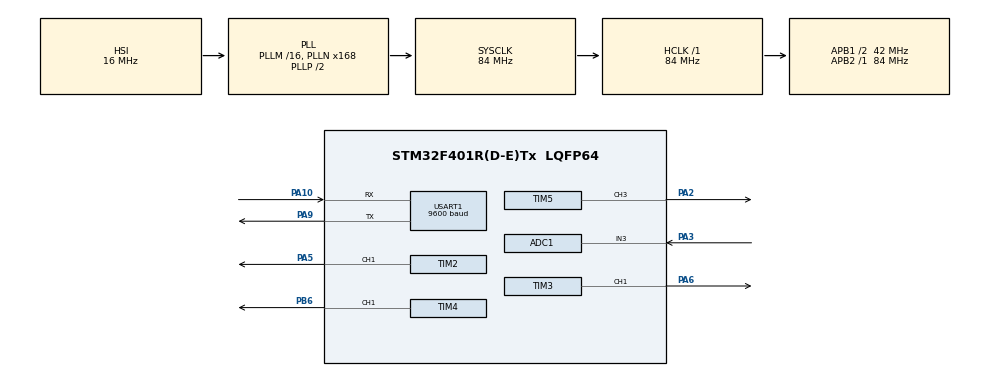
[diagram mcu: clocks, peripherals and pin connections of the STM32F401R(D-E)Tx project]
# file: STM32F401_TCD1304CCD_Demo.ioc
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ADC1.Channel-3\#ChannelRegularConversion=ADC_CHANNEL_3
ADC1.ContinuousConvMode=ENABLE
ADC1.DMAContinuousRequests=ENABLE
ADC1.NbrOfConversionFlag=1
ADC1.Rank-3\#ChannelRegularConversion=1
ADC1.SamplingTime-3\#ChannelRegularConversion=ADC_SAMPLETIME_3CYCLES
ADC1.master=1
Dma.ADC1.0.Direction=DMA_PERIPH_TO_MEMORY
Dma.ADC1.0.FIFOMode=DMA_FIFOMODE_DISABLE
Dma.ADC1.0.Instance=DMA2_Stream0
Dma.ADC1.0.MemDataAlignment=DMA_MDATAALIGN_HALFWORD
Dma.ADC1.0.MemInc=DMA_MINC_ENABLE
Dma.ADC1.0.Mode=DMA_CIRCULAR
Dma.ADC1.0.PeriphDataAlignment=DMA_PDATAALIGN_HALFWORD
Dma.ADC1.0.PeriphInc=DMA_PINC_DISABLE
Dma.ADC1.0.Priority=DMA_PRIORITY_HIGH
Dma.Request0=ADC1
Dma.Request1=USART1_TX
Dma.USART1_TX.1.Direction=DMA_MEMORY_TO_PERIPH
Dma.USART1_TX.1.FIFOMode=DMA_FIFOMODE_DISABLE
Dma.USART1_TX.1.Instance=DMA2_Stream7
Dma.USART1_TX.1.MemDataAlignment=DMA_MDATAALIGN_BYTE
Dma.USART1_TX.1.MemInc=DMA_MINC_ENABLE
Dma.USART1_TX.1.Mode=DMA_NORMAL
Dma.USART1_TX.1.PeriphDataAlignment=DMA_PDATAALIGN_BYTE
Dma.USART1_TX.1.PeriphInc=DMA_PINC_DISABLE
Dma.USART1_TX.1.Priority=DMA_PRIORITY_MEDIUM
Mcu.Family=STM32F4
Mcu.Name=STM32F401R(D-E)Tx
Mcu.Package=LQFP64
NVIC.ADC_IRQn=true\:0\:0\:false\:false\:true\:true\:true\:true
NVIC.DMA2_Stream0_IRQn=true\:0\:0\:false\:false\:true\:false\:true\:true
NVIC.DMA2_Stream7_IRQn=true\:0\:0\:false\:false\:true\:false\:true\:true
NVIC.PriorityGroup=NVIC_PRIORITYGROUP_4
PA10.Mode=Asynchronous
PA10.Signal=USART1_RX
PA13.Mode=Trace_Asynchronous_SW
PA13.Signal=SYS_JTMS-SWDIO
PA14.Mode=Trace_Asynchronous_SW
PA14.Signal=SYS_JTCK-SWCLK
PA2.Signal=S_TIM5_CH3
PA3.Signal=ADCx_IN3
PA5.Signal=S_TIM2_CH1_ETR
PA6.Signal=S_TIM3_CH1
PA9.Mode=Asynchronous
PA9.Signal=USART1_TX
PB3.Mode=Trace_Asynchronous_SW
PB3.Signal=SYS_JTDO-SWO
PB6.Signal=S_TIM4_CH1
PH0\ -\ OSC_IN.Mode=HSE-External-Oscillator
PH0\ -\ OSC_IN.Signal=RCC_OSC_IN
PH1\ -\ OSC_OUT.Mode=HSE-External-Oscillator
PH1\ -\ OSC_OUT.Signal=RCC_OSC_OUT
ProjectManager.HeapSize=0x200
ProjectManager.StackSize=0x400
ProjectManager.TargetToolchain=STM32CubeIDE
RCC.48MHZClocksFreq_Value=24000000
RCC.AHBFreq_Value=84000000
RCC.APB1CLKDivider=RCC_HCLK_DIV2
RCC.APB1Freq_Value=42000000
RCC.APB1TimFreq_Value=84000000
RCC.APB2Freq_Value=84000000
RCC.APB2TimFreq_Value=84000000
RCC.CortexFreq_Value=84000000
RCC.HCLKFreq_Value=84000000
RCC.HSE_VALUE=25000000
RCC.HSI_VALUE=16000000
RCC.LSE_VALUE=32768
RCC.PLLN=168
RCC.PLLQ=7
RCC.SYSCLKFreq_VALUE=84000000
RCC.SYSCLKSource=RCC_SYSCLKSOURCE_PLLCLK
RCC.VCOOutputFreq_Value=168000000
SH.ADCx_IN3.0=ADC1_IN3,IN3
SH.S_TIM2_CH1_ETR.0=TIM2_CH1,PWM Generation1 CH1
SH.S_TIM3_CH1.0=TIM3_CH1,PWM Generation1 CH1
SH.S_TIM4_CH1.0=TIM4_CH1,PWM Generation1 CH1
SH.S_TIM5_CH3.0=TIM5_CH3,PWM Generation3 CH3
TIM2.Channel-PWM\ Generation1\ CH1=TIM_CHANNEL_1
TIM2.OCPolarity_1=TIM_OCPOLARITY_HIGH
TIM2.Period=621600-1
TIM2.Pulse-PWM\ Generation1\ CH1=840-1
TIM2.TIM_MasterOutputTrigger=TIM_TRGO_ENABLE
TIM2.TIM_MasterSlaveMode=TIM_MASTERSLAVEMODE_ENABLE
TIM3.Channel-PWM\ Generation1\ CH1=TIM_CHANNEL_1
TIM3.OCFastMode_PWM-PWM\ Generation1\ CH1=TIM_OCFAST_DISABLE
TIM3.Period=42-1
TIM3.Pulse-PWM\ Generation1\ CH1=21-1
TIM4.Channel-PWM\ Generation1\ CH1=TIM_CHANNEL_1
TIM4.Period=168-1
TIM4.Pulse-PWM\ Generation1\ CH1=42-1
TIM5.Channel-PWM\ Generation3\ CH3=TIM_CHANNEL_3
TIM5.OCPolarity_3=TIM_OCPOLARITY_LOW
TIM5.Period=840-1
TIM5.Pulse-PWM\ Generation3\ CH3=420-1
TIM5.TIM_MasterSlaveMode=TIM_MASTERSLAVEMODE_ENABLE
USART1.BaudRate=9600
USART1.VirtualMode=VM_ASYNC
VP_TIM2_VS_ClockSourceINT.Mode=Internal
VP_TIM3_VS_ClockSourceINT.Mode=Internal
VP_TIM4_VS_ClockSourceINT.Mode=Internal
VP_TIM5_VS_ClockSourceINT.Mode=Internal
VP_TIM5_VS_ClockSourceITR.Mode=TriggerSource_ITR0
VP_TIM5_VS_ControllerModeTrigger.Mode=Trigger Mode
board=custom

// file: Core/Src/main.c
/* USER CODE BEGIN Header */
/**
  ******************************************************************************
  * @file           : main.c
  * @brief          : Main program body
  ******************************************************************************
  * @attention
  *
  * Copyright (c) 2023 STMicroelectronics.
  * All rights reserved.
  *
  * This software is licensed under terms that can be found in the LICENSE file
  * in the root directory of this software component.
  * If no LICENSE file comes with this software, it is provided AS-IS.
  *
  ******************************************************************************
  */
/* USER CODE END Header */
#include "main.h"

/* USER CODE BEGIN Includes */
#include <string.h>
/* USER CODE END Includes */

ADC_HandleTypeDef hadc1;
DMA_HandleTypeDef hdma_adc1;

TIM_HandleTypeDef htim2;
TIM_HandleTypeDef htim3;
TIM_HandleTypeDef htim4;
TIM_HandleTypeDef htim5;

UART_HandleTypeDef huart1;
DMA_HandleTypeDef hdma_usart1_tx;

/* USER CODE BEGIN PV */

uint8_t data[13] = "Hello World!\n";
uint16_t ccdData = 32;

/* USER CODE END PV */

void SystemClock_Config(void);
static void MX_GPIO_Init(void);
static void MX_DMA_Init(void);
static void MX_TIM2_Init(void);
static void MX_TIM3_Init(void);
static void MX_TIM4_Init(void);
static void MX_TIM5_Init(void);
static void MX_ADC1_Init(void);
static void MX_USART1_UART_Init(void);
/* USER CODE BEGIN PFP */
void DMATransferComplete(DMA_HandleTypeDef *hdma);
/* USER CODE END PFP */

/* USER CODE BEGIN 0 */
#define CCDBuffer 6000
volatile uint16_t CCDPixelBuffer[CCDBuffer];

/* USER CODE END 0 */

int main(void)
{
  /* USER CODE BEGIN 1 */
	char msg[] = "Long boat hlystone pirate log driver hulk nipperkin cog." \
				 "Bucacaneer me lass poop deck spyglass maroon jib spike. Come" \
				 "about maroon skysail Corsair bilge water Arr long clothes " \
				 "transom.\r\n";
  /* USER CODE END 1 */

  /* MCU Configuration--------------------------------------------------------*/

  /* Reset of all peripherals, Initializes the Flash interface and the Systick. */
  HAL_Init();

  /* Configure the system clock */
  SystemClock_Config();

  /* Initialize all configured peripherals */
  MX_GPIO_Init();
  MX_DMA_Init();
  MX_TIM2_Init();
  MX_TIM3_Init();
  MX_TIM4_Init();
  MX_TIM5_Init();
  MX_ADC1_Init();
  MX_USART1_UART_Init();
  /* USER CODE BEGIN 2 */

  HAL_TIM_PWM_Start(&htim3, TIM_CHANNEL_1); //PA6 - fM

  HAL_TIM_PWM_Start(&htim4, TIM_CHANNEL_4); //ADC

  HAL_TIM_PWM_Start(&htim2, TIM_CHANNEL_1); //PA0 - ICG

  __HAL_TIM_SET_COUNTER(&htim2, 66); //600ns delay

  HAL_TIM_PWM_Start(&htim5, TIM_CHANNEL_3); //PA2 - SH

  //HAL_ADC_Start_DMA(&hadc1, (uint32_t*)CCDPixelBuffer, CCDBuffer);

  //HAL_DMA_RegisterCallback(&hdma_usart1_tx, HAL_DMA_XFER_CPLT_CB_ID, &DMATransferComplete);

  /* USER CODE END 2 */

  /* Infinite loop */
  /* USER CODE BEGIN WHILE */
  while (1)
  {
	//huart1.Instance->CR3 &= ~USART_CR3_DMAT;

    /* USER CODE END WHILE */

    /* USER CODE BEGIN 3 */
	  //(uint8_t *)
	  //HAL_ADC_Start_DMA(&hadc1, &CCDPixelBuffer, sizeof(CCDPixelBuffer));
	  //hadc1->ADC_DMAConvCplt(hdma_adc1);

	  //ccdData = HAL_ADC_GetValue(&hadc1);
	  //HAL_UART_Transmit(&huart1, &ccdData, sizeof(ccdData), 1000);
	  //HAL_Delay (1000);

	  //HAL_UART_Transmit(&huart1, &CCDPixelBuffer, sizeof(CCDPixelBuffer), 100);
  }
  /* USER CODE END 3 */
}

void SystemClock_Config(void)
{
  RCC_OscInitTypeDef RCC_OscInitStruct = {0};
  RCC_ClkInitTypeDef RCC_ClkInitStruct = {0};

  /** Configure the main internal regulator output voltage
  */
  __HAL_RCC_PWR_CLK_ENABLE();
  __HAL_PWR_VOLTAGESCALING_CONFIG(PWR_REGULATOR_VOLTAGE_SCALE2);

  /** Initializes the RCC Oscillators according to the specified parameters
  * in the RCC_OscInitTypeDef structure.
  */
  RCC_OscInitStruct.OscillatorType = RCC_OSCILLATORTYPE_HSI;
  RCC_OscInitStruct.HSIState = RCC_HSI_ON;
  RCC_OscInitStruct.HSICalibrationValue = RCC_HSICALIBRATION_DEFAULT;
  RCC_OscInitStruct.PLL.PLLState = RCC_PLL_ON;
  RCC_OscInitStruct.PLL.PLLSource = RCC_PLLSOURCE_HSI;
  RCC_OscInitStruct.PLL.PLLM = 16;
  RCC_OscInitStruct.PLL.PLLN = 168;
  RCC_OscInitStruct.PLL.PLLP = RCC_PLLP_DIV2;
  RCC_OscInitStruct.PLL.PLLQ = 7;
  if (HAL_RCC_OscConfig(&RCC_OscInitStruct) != HAL_OK)
  {
    Error_Handler();
  }

  /** Initializes the CPU, AHB and APB buses clocks
  */
  RCC_ClkInitStruct.ClockType = RCC_CLOCKTYPE_HCLK|RCC_CLOCKTYPE_SYSCLK
                              |RCC_CLOCKTYPE_PCLK1|RCC_CLOCKTYPE_PCLK2;
  RCC_ClkInitStruct.SYSCLKSource = RCC_SYSCLKSOURCE_PLLCLK;
  RCC_ClkInitStruct.AHBCLKDivider = RCC_SYSCLK_DIV1;
  RCC_ClkInitStruct.APB1CLKDivider = RCC_HCLK_DIV2;
  RCC_ClkInitStruct.APB2CLKDivider = RCC_HCLK_DIV1;

  if (HAL_RCC_ClockConfig(&RCC_ClkInitStruct, FLASH_LATENCY_2) != HAL_OK)
  {
    Error_Handler();
  }
}

static void MX_ADC1_Init(void)
{

  ADC_ChannelConfTypeDef sConfig = {0};

  /** Configure the global features of the ADC (Clock, Resolution, Data Alignment and number of conversion)
  */
  hadc1.Instance = ADC1;
  hadc1.Init.ClockPrescaler = ADC_CLOCK_SYNC_PCLK_DIV4;
  hadc1.Init.Resolution = ADC_RESOLUTION_12B;
  hadc1.Init.ScanConvMode = DISABLE;
  hadc1.Init.ContinuousConvMode = ENABLE;
  hadc1.Init.DiscontinuousConvMode = DISABLE;
  hadc1.Init.ExternalTrigConvEdge = ADC_EXTERNALTRIGCONVEDGE_NONE;
  hadc1.Init.ExternalTrigConv = ADC_SOFTWARE_START;
  hadc1.Init.DataAlign = ADC_DATAALIGN_RIGHT;
  hadc1.Init.NbrOfConversion = 1;
  hadc1.Init.DMAContinuousRequests = ENABLE;
  hadc1.Init.EOCSelection = ADC_EOC_SINGLE_CONV;
  if (HAL_ADC_Init(&hadc1) != HAL_OK)
  {
    Error_Handler();
  }

  /** Configure for the selected ADC regular channel its corresponding rank in the sequencer and its sample time.
  */
  sConfig.Channel = ADC_CHANNEL_3;
  sConfig.Rank = 1;
  sConfig.SamplingTime = ADC_SAMPLETIME_3CYCLES;
  if (HAL_ADC_ConfigChannel(&hadc1, &sConfig) != HAL_OK)
  {
    Error_Handler();
  }

}

static void MX_TIM2_Init(void)
{

  TIM_ClockConfigTypeDef sClockSourceConfig = {0};
  TIM_MasterConfigTypeDef sMasterConfig = {0};
  TIM_OC_InitTypeDef sConfigOC = {0};

  htim2.Instance = TIM2;
  htim2.Init.Prescaler = 0;
  htim2.Init.CounterMode = TIM_COUNTERMODE_UP;
  htim2.Init.Period = 621600-1;
  htim2.Init.ClockDivision = TIM_CLOCKDIVISION_DIV1;
  htim2.Init.AutoReloadPreload = TIM_AUTORELOAD_PRELOAD_DISABLE;
  if (HAL_TIM_Base_Init(&htim2) != HAL_OK)
  {
    Error_Handler();
  }
  sClockSourceConfig.ClockSource = TIM_CLOCKSOURCE_INTERNAL;
  if (HAL_TIM_ConfigClockSource(&htim2, &sClockSourceConfig) != HAL_OK)
  {
    Error_Handler();
  }
  if (HAL_TIM_PWM_Init(&htim2) != HAL_OK)
  {
    Error_Handler();
  }
  sMasterConfig.MasterOutputTrigger = TIM_TRGO_ENABLE;
  sMasterConfig.MasterSlaveMode = TIM_MASTERSLAVEMODE_ENABLE;
  if (HAL_TIMEx_MasterConfigSynchronization(&htim2, &sMasterConfig) != HAL_OK)
  {
    Error_Handler();
  }
  sConfigOC.OCMode = TIM_OCMODE_PWM1;
  sConfigOC.Pulse = 840-1;
  sConfigOC.OCPolarity = TIM_OCPOLARITY_HIGH;
  sConfigOC.OCFastMode = TIM_OCFAST_DISABLE;
  if (HAL_TIM_PWM_ConfigChannel(&htim2, &sConfigOC, TIM_CHANNEL_1) != HAL_OK)
  {
    Error_Handler();
  }
  HAL_TIM_MspPostInit(&htim2);

}

static void MX_TIM3_Init(void)
{

  TIM_ClockConfigTypeDef sClockSourceConfig = {0};
  TIM_MasterConfigTypeDef sMasterConfig = {0};
  TIM_OC_InitTypeDef sConfigOC = {0};

  htim3.Instance = TIM3;
  htim3.Init.Prescaler = 0;
  htim3.Init.CounterMode = TIM_COUNTERMODE_UP;
  htim3.Init.Period = 42-1;
  htim3.Init.ClockDivision = TIM_CLOCKDIVISION_DIV1;
  htim3.Init.AutoReloadPreload = TIM_AUTORELOAD_PRELOAD_DISABLE;
  if (HAL_TIM_Base_Init(&htim3) != HAL_OK)
  {
    Error_Handler();
  }
  sClockSourceConfig.ClockSource = TIM_CLOCKSOURCE_INTERNAL;
  if (HAL_TIM_ConfigClockSource(&htim3, &sClockSourceConfig) != HAL_OK)
  {
    Error_Handler();
  }
  if (HAL_TIM_PWM_Init(&htim3) != HAL_OK)
  {
    Error_Handler();
  }
  sMasterConfig.MasterOutputTrigger = TIM_TRGO_RESET;
  sMasterConfig.MasterSlaveMode = TIM_MASTERSLAVEMODE_DISABLE;
  if (HAL_TIMEx_MasterConfigSynchronization(&htim3, &sMasterConfig) != HAL_OK)
  {
    Error_Handler();
  }
  sConfigOC.OCMode = TIM_OCMODE_PWM1;
  sConfigOC.Pulse = 21-1;
  sConfigOC.OCPolarity = TIM_OCPOLARITY_HIGH;
  sConfigOC.OCFastMode = TIM_OCFAST_DISABLE;
  if (HAL_TIM_PWM_ConfigChannel(&htim3, &sConfigOC, TIM_CHANNEL_1) != HAL_OK)
  {
    Error_Handler();
  }
  HAL_TIM_MspPostInit(&htim3);

}

static void MX_TIM4_Init(void)
{

  TIM_ClockConfigTypeDef sClockSourceConfig = {0};
  TIM_MasterConfigTypeDef sMasterConfig = {0};
  TIM_OC_InitTypeDef sConfigOC = {0};

  htim4.Instance = TIM4;
  htim4.Init.Prescaler = 0;
  htim4.Init.CounterMode = TIM_COUNTERMODE_UP;
  htim4.Init.Period = 168-1;
  htim4.Init.ClockDivision = TIM_CLOCKDIVISION_DIV1;
  htim4.Init.AutoReloadPreload = TIM_AUTORELOAD_PRELOAD_DISABLE;
  if (HAL_TIM_Base_Init(&htim4) != HAL_OK)
  {
    Error_Handler();
  }
  sClockSourceConfig.ClockSource = TIM_CLOCKSOURCE_INTERNAL;
  if (HAL_TIM_ConfigClockSource(&htim4, &sClockSourceConfig) != HAL_OK)
  {
    Error_Handler();
  }
  if (HAL_TIM_PWM_Init(&htim4) != HAL_OK)
  {
    Error_Handler();
  }
  sMasterConfig.MasterOutputTrigger = TIM_TRGO_RESET;
  sMasterConfig.MasterSlaveMode = TIM_MASTERSLAVEMODE_DISABLE;
  if (HAL_TIMEx_MasterConfigSynchronization(&htim4, &sMasterConfig) != HAL_OK)
  {
    Error_Handler();
  }
  sConfigOC.OCMode = TIM_OCMODE_PWM1;
  sConfigOC.Pulse = 42-1;
  sConfigOC.OCPolarity = TIM_OCPOLARITY_HIGH;
  sConfigOC.OCFastMode = TIM_OCFAST_DISABLE;
  if (HAL_TIM_PWM_ConfigChannel(&htim4, &sConfigOC, TIM_CHANNEL_1) != HAL_OK)
  {
    Error_Handler();
  }
  HAL_TIM_MspPostInit(&htim4);

}

static void MX_TIM5_Init(void)
{

  TIM_ClockConfigTypeDef sClockSourceConfig = {0};
  TIM_SlaveConfigTypeDef sSlaveConfig = {0};
  TIM_MasterConfigTypeDef sMasterConfig = {0};
  TIM_OC_InitTypeDef sConfigOC = {0};

  htim5.Instance = TIM5;
  htim5.Init.Prescaler = 0;
  htim5.Init.CounterMode = TIM_COUNTERMODE_UP;
  htim5.Init.Period = 840-1;
  htim5.Init.ClockDivision = TIM_CLOCKDIVISION_DIV1;
  htim5.Init.AutoReloadPreload = TIM_AUTORELOAD_PRELOAD_DISABLE;
  if (HAL_TIM_Base_Init(&htim5) != HAL_OK)
  {
    Error_Handler();
  }
  sClockSourceConfig.ClockSource = TIM_CLOCKSOURCE_INTERNAL;
  if (HAL_TIM_ConfigClockSource(&htim5, &sClockSourceConfig) != HAL_OK)
  {
    Error_Handler();
  }
  if (HAL_TIM_PWM_Init(&htim5) != HAL_OK)
  {
    Error_Handler();
  }
  sSlaveConfig.SlaveMode = TIM_SLAVEMODE_TRIGGER;
  sSlaveConfig.InputTrigger = TIM_TS_ITR0;
  if (HAL_TIM_SlaveConfigSynchro(&htim5, &sSlaveConfig) != HAL_OK)
  {
    Error_Handler();
  }
  sMasterConfig.MasterOutputTrigger = TIM_TRGO_RESET;
  sMasterConfig.MasterSlaveMode = TIM_MASTERSLAVEMODE_ENABLE;
  if (HAL_TIMEx_MasterConfigSynchronization(&htim5, &sMasterConfig) != HAL_OK)
  {
    Error_Handler();
  }
  sConfigOC.OCMode = TIM_OCMODE_PWM1;
  sConfigOC.Pulse = 420-1;
  sConfigOC.OCPolarity = TIM_OCPOLARITY_LOW;
  sConfigOC.OCFastMode = TIM_OCFAST_DISABLE;
  if (HAL_TIM_PWM_ConfigChannel(&htim5, &sConfigOC, TIM_CHANNEL_3) != HAL_OK)
  {
    Error_Handler();
  }
  HAL_TIM_MspPostInit(&htim5);

}

static void MX_USART1_UART_Init(void)
{

  huart1.Instance = USART1;
  huart1.Init.BaudRate = 9600;
  huart1.Init.WordLength = UART_WORDLENGTH_8B;
  huart1.Init.StopBits = UART_STOPBITS_1;
  huart1.Init.Parity = UART_PARITY_NONE;
  huart1.Init.Mode = UART_MODE_TX_RX;
  huart1.Init.HwFlowCtl = UART_HWCONTROL_NONE;
  huart1.Init.OverSampling = UART_OVERSAMPLING_16;
  if (HAL_UART_Init(&huart1) != HAL_OK)
  {
    Error_Handler();
  }

}

static void MX_DMA_Init(void)
{

  /* DMA controller clock enable */
  __HAL_RCC_DMA2_CLK_ENABLE();

  /* DMA interrupt init */
  /* DMA2_Stream0_IRQn interrupt configuration */
  HAL_NVIC_SetPriority(DMA2_Stream0_IRQn, 0, 0);
  HAL_NVIC_EnableIRQ(DMA2_Stream0_IRQn);
  /* DMA2_Stream7_IRQn interrupt configuration */
  HAL_NVIC_SetPriority(DMA2_Stream7_IRQn, 0, 0);
  HAL_NVIC_EnableIRQ(DMA2_Stream7_IRQn);

}

static void MX_GPIO_Init(void)
{

  /* GPIO Ports Clock Enable */
  __HAL_RCC_GPIOH_CLK_ENABLE();
  __HAL_RCC_GPIOA_CLK_ENABLE();
  __HAL_RCC_GPIOB_CLK_ENABLE();

}

/* USER CODE BEGIN 4 */

void HAL_UART_TxHalfCpltCallback(UART_HandleTypeDef* huart)
{

}

void HAL_UART_TxCpltCallback(UART_HandleTypeDef* huart)
{

}

// Called when first half of buffer is filled
void HAL_ADC_ConvHalfCpltCallback(ADC_HandleTypeDef* hadc)
{
	//HAL_GPIO_WritePin(LD2_GPIO_Port, LD2_Pin, GPIO_PIN_SET);
	//HAL_UART_Transmit_DMA(&huart1, &CCDPixelBuffer[1], sizeof(CCDPixelBuffer[1]));
}

// Called when buffer is completely filled
 void HAL_ADC_ConvCpltCallback(ADC_HandleTypeDef* hadc)
 {
	 //huart1.Instance->CR3 |= USART_CR3_DMAT;
	 //HAL_GPIO_WritePin(LD2_GPIO_Port, LD2_PIN, GPIO_PIN_RESET);
	 //CCDPixelBuffer
	 //uint16_t tempBuffer[CCDBuffer] = CCDPixelBuffer;

	 //HAL_UART_Transmit_DMA(&huart1, (uint8_t *)CCDPixelBuffer, CCDBuffer);
	 /*
	 hadc->Lock = HAL_LOCKED;
	 HAL_UART_Transmit_DMA(&huart1, &CCDPixelBuffer[1], sizeof(CCDPixelBuffer[1]));
	 hadc->Lock = HAL_UNLOCKED;
	 */
 }
/* USER CODE END 4 */

void Error_Handler(void)
{
  __disable_irq();
  while (1)
  {
  }
}
